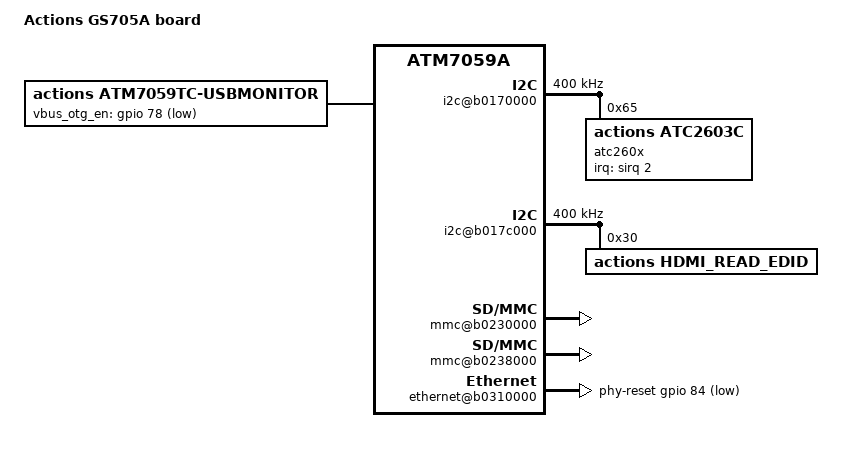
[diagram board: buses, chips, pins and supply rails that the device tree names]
/dts-v1/;

/include/ "actduino.dtsi"
#include <dt-bindings/input/input.h>

/ {
	model = "Actions GS705A board";
	compatible = "actions,gs705a", "actions,atm7059a";

	clock:0b0160000 {
		compatible = "actions,owl-clk";
		core_pll = <0x332>;
		dev_pll = <0x1164>;
		bus_pll = <0x1c710000>;
		display_pll = <0x164>;
		bus1_pll = <0x2e004>;
		clk_spead = <0x0>;
	};
	
	gpio_int {
		initgpio_A=<23 0 0>,<25 0 0>;/*<x1,x2,x3>,x1=PIN,x2=(0=OUT,1=IN),x3=IOVAL*/
		initgpio_B=<23 0 0>;
	};
    
	reserved {
		tiny {
			fb_heap_size = <4>;
			kinfo_heap_size = <1>;
			carveout_heap_size = <40>;
			dma_heap_size = <128>;
		};
		normal {
			fb_heap_size = <8>;
			kinfo_heap_size = <1>;
			carveout_heap_size = <244>;
			dma_heap_size = <98>;
		};
	};
	
	pinctrl@b01b0040 {
		pinctrl-names = "default";
		pinctrl-0 = <&state_default>;

		state_default: pinctrl_default {
		};

		i2c0_state_default: i2c0_default {/* i2c0 use default pin	*/
			i2c0_default_mfp {
				actions,groups = "mfp3_18_16";
				actions,function = "i2c0";
			};

			i2c0_default_paddrv {
				actions,groups = "paddrv2_24_23";
				actions,paddrv = <0>;/*level 1*/
			};

			i2c0_default_pull_up {
				actions,pins = "P_I2C0_SCLK","P_I2C0_SDATA";
				actions,pull = <2>; /*pull up*/
			};
		};

		i2c0_state_over_uart0: i2c0_over_uart0 {/* i2c0 use uart0 pin	*/
			i2c0_over_uart0_mfp {
				actions,groups = "mfp2_2_0", "mfp3_21_19";
				actions,function = "i2c0";
			};

			i2c0_over_uart0_paddrv {
				actions,groups = "paddrv2_31_30","paddrv2_29_28";
				actions,paddrv = <0>;/*level 1*/
			};

			i2c0_over_uart0_pull_up {
				actions,pins = "P_UART0_RX","P_UART0_TX";
				actions,pull = <2>; /*pull up*/
			};
		};	

		i2c1_state_default: i2c1_default {/* i2c1 use default pin	*/
			i2c1_default_mfp {
				actions,groups = "i2c1_dummy";
				actions,function = "i2c1";
			};

			i2c1_default_paddrv {
				actions,groups = "paddrv2_22_21";
				actions,paddrv = <0>;/*level 1*/
			};

			i2c1_default_pull_up {
				actions,pins = "P_I2C1_SCLK","P_I2C1_SDATA";
				actions,pull = <0>;	/*stay disabled*/
			};
		};

		i2c2_state_default: i2c2_default {/* i2c2 use default pin*/
			i2c2_default_mfp {
				actions,groups = "i2c2_dummy";
				actions,function = "i2c2";
			};

			i2c2_default_paddrv {
				actions,groups = "paddrv2_22_21";
				actions,paddrv = <0>;/*level 1*/
			};

			i2c2_default_pull_up {
				actions,pins = "P_I2C2_SCLK","P_I2C2_SDATA";
				actions,pull = <2>; /*pull up*/
			};
		};
		
		i2c3_state_over_spi0: i2c3_over_spi0 {/* i2c3 use spi0 pin	*/
			i2c3_over_spi0_mfp {
				actions,groups = "mfp1_4_3";
				actions,function = "i2c3";
			};

			i2c3_over_spi0_paddrv {
				actions,groups = "paddrv1_11_10";
				actions,paddrv = <0>;/*level 1*/
			};

			i2c3_over_spi0_pull_up {
				actions,pins = "P_SPI0_SCLK","P_SPI0_MOSI";
				actions,pull = <2>; /*pull up*/
			};
		};				

		pwm0_state_default: pwm0_default {
			pwm0_mfp {
				actions,groups = "mfp1_31_29_ks_in2";
				actions,function = "pwm0";
			};
		};

		pwm1_state_default: pwm1_default {
			pwm1_mfp {
				actions,groups = "mfp1_28_26_ks_in3";
				actions,function = "pwm1";
			};
		};
		
		pwm2_state_default: pwm2_default {
			pwm2_mfp {
				actions,groups = "mfp1_25_23";
				actions,function = "pwm2";
			};
		};
		
		pwm3_state_default: pwm3_default {
			pwm3_mfp {
				actions,groups = "mfp1_28_26_ks_out1";
				actions,function = "pwm3";
			};
		};
		
		lvds_state_default: lvds_default {
			lvds_mux {
				actions,groups = "mfp1_22_21", "mfp1_6_5", "mfp2_28_27";
				actions,function = "lvds";
			};
		};
		rgb_state_default: rgb_default {
			rgb_mux {
				actions,groups = "mfp0_25_23","mfp1_16_14", "mfp1_22_21", "mfp1_13_12", "mfp1_11_10", "mfp1_6_5", "mfp2_30_29", "mfp2_28_27";
				actions,function = "lcd0";
			};
		};
		
		dsi_state_default: dsi_default {
			dsi_mux {
				actions,groups = "mfp1_20_19", "mfp1_18_17", "mfp1_13_12", "mfp1_11_10", "mfp1_9_7", "mfp2_30_29";
				actions,function = "dsi";
			};
		};
	};

	i2c@b0170000 {
		i2c_num = <0>;
		clock-frequency = <400000>;
		status = "okay";
		pinctrl-names = "default";
		pinctrl-0 = <&i2c0_state_default>;
		#address-cells = <1>;
		#size-cells = <0>;	
		
		/* atc2603c (5307) */
		atc260x: atc2603c@65 {
			compatible = "actions,atc2603c";
			reg = <0x65>;
			interrupt-parent = <&sirq>;
			interrupts =< 2 0x4 >;
			interrupt-controller;
			#interrupt-cells = <1>;

			atc260x-adckeypad{
			    compatible = "actions,atc2603c-adckeypad";
                            adc_channel_name = "AUX0";          /* the ADC channel used for sampling, valid names are REMCON AUX0 AUX1 AUX2 (AUX3) */
                            keymapsize = <4>; /* number of ADC key */
                            left_adc_val =  <0 90 175 270>;     /* for key code translator, each value defines a lower bound of ADC value of a key */
                            right_adc_val = <30 120 220 320>;   /* for key code translator, each value defines a upper bound of ADC value of a key */
                            key_val = <KEY_HOME KEY_MENU KEY_VOLUMEUP KEY_VOLUMEDOWN>; /* for key code translator, each value defines the key_code of a key */
                        };

			atc260x-power{
				compatible = "actions,atc2603c-power";
				support_adaptor_type = <2>;      /*1: DCIN  2: USB  3:DCIN+USB*/
				gauge_bus_id = <2>;      /*gauge bus id: 0~n*/
				gauge_id = <1>;      /*0:default gauge, 1:hwgauge*/
				boot_cap_threshold = <7>;     /*7%,the lowest capacity permitted to boot*/ 
				support_minicharger = < 1 >;	/* 1:support minicharer  0:do not support minicharger */  
			};
		};
	};

	i2c@b017c000 {
		i2c_num = <3>;
		clock-frequency = <400000>;
		status = "okay";
		pinctrl-names = "default";
		pinctrl-0 = <&i2c3_state_over_spi0>;	
		hdmi_read_edid@30 {
			compatible = "actions,hdmi_read_edid";
			reg = <0x30>;
		};	
	};

	spi@b0200000 {
		status = "disabled";
	};

	spi@b0204000 {
		status = "disabled";
	};
	
	spi@b0208000 {
		status = "disabled";
	};

	spi@b020c000 {
		status = "disabled";
	};

	gpio@b01b0000 {
		status = "okay";
	};

	mmc@b0230000 {
		status = "okay";
	};

	mmc@b0234000 {
		status = "disabled";
	};

	mmc@b0238000 {
		status = "okay";
	};
	
	monitor {
		compatible = "actions,atm7059tc-usbmonitor";
		vbus_otg_en_gpios = <&gpio 78 1>;  /* GPIOC14,  0: low active; 1: high active */
		status = "okay";
	};

	framebuffer {
		compatible = "actions,framebuffer";
		def_display  = "dsi";
		bpp = <4>; 
	};

		
	lcd0: lcd0@b02a0000 {
		status = "disabled";
	};

	dsi: dsi@b0220000 {
		pinctrl-names = "default";
		pinctrl-0 = <&dsi_state_default>;
		dsi_power_gpios = <&gpio 126 1>;    /*GPIOD30*/
		port_type = "dsi";	 
		data_width = <0>;
		videomode-0 = <&dsi_mode>;
		hw-set = <&dsi_reg>;

		dsi_reg:val{													
			dsi_ctrl =< 0x1340>;
			dsi_size = <0x3200000>;
			dsi_color = <0xff0000>;
			dsi_rgbht0 = <0x7878>;
			dsi_rgbht1 = <0x3e8>;
			dsi_rgbvt0 = <0x1f0c32c>;
			dsi_rgbvt1 =<0xa>;
			dsi_pack_cfg = <0x0>;
			dsi_pack_header =<0xf00>;
			dsi_vedio_cfg = <0x30c>;
			dsi_phy_t0 = <0xa5a>;
			dsi_phy_t1 =<0x1b12>;
			dsi_phy_t2 = <0x2f05>;
			dsi_phy_ctrl = <0xfc94>;
			dsi_pin_map = <0x688>;
			cmu_dsipll_clk = <0x12601>;
		};
		
		dsi_mode:mode@800x1280p60 {
			refresh = <60>;
			xres = <1280>;
			yres = <800>;
			/*in pico second, 0.000 000 000 001s*/
			pixclock = <15000>;
			left_margin = <10>;
			right_margin = <10>;
			upper_margin = <3>;
			lower_margin = <3>;
			hsync_len = <30>;
			vsync_len = <6>;
			/*0: FB_VMODE_NONINTERLACED, 1:FB_VMODE_INTERLACED*/
			vmode = <0>;
		};
	};

	hdmi:hdmi@b02c0000{
		hdcp_onoff = <0>;
		channel_invert = <0>;
		bit_invert = <0>;
		bootable = <1>; 
		i2cbus = <3>;
		bootrotate = <0>;   
		default_resolution = "auto";
	};

	pwm: pwm@b01b0050 {
		pwm0 {
			id = <0>;
			pinctrl-names = "default";
			pinctrl-0 = <&pwm0_state_default>;
		};
		pwm1 {
			id = <1>;
			pinctrl-names = "default";
			pinctrl-0 = <&pwm1_state_default>;
		};
		pwm2 {
			id = <2>;
			pinctrl-names = "default";
			pinctrl-0 = <&pwm2_state_default>;
		};
		pwm3 {
			id = <3>;
			pinctrl-names = "default";
			pinctrl-0 = <&pwm3_state_default>;
		};
	};

	ethernet@b0310000 {
		compatible = "actions,owl-ethernet";
		phy_addr = <1>;
		status = "okay";
		phy-power-gpios = <&gpio 85 0>;
		phy-reset-gpios = <&gpio 84 1>;
	};

	backlight {
		/*1.pwm num; 2. period in ns; */
		/*3.plarity, 0: high active, 1: low active*/
		backlight_en_gpios = <&gpio 124 0>; /*GPIOD28*/ 
		pwms = <&pwm 0 50000 1>;
		total_steps = <1024>;
		min_brightness = <120>;
		max_brightness = <450>;
		dft_brightness = <300>;
		delay_bf_pwm  = <200>;
		delay_af_pwm  = <10>;	
	};
};
